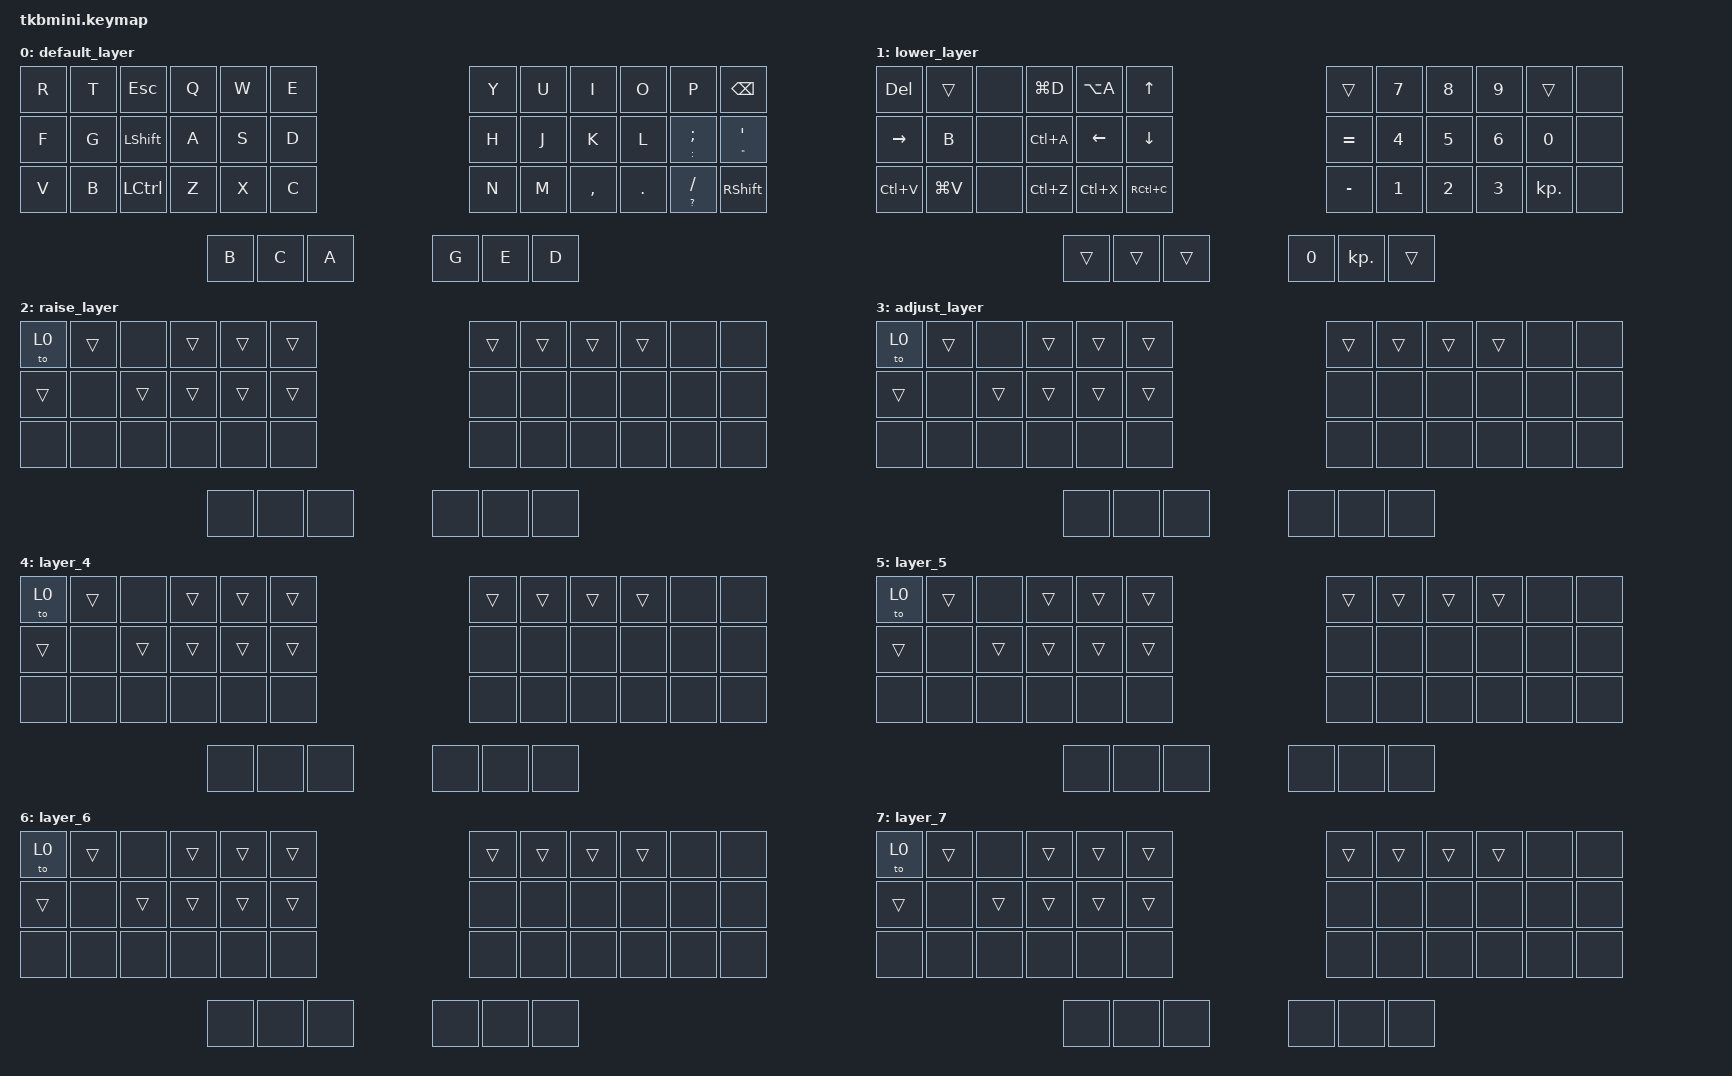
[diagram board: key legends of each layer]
/*
 * Copyright (c) 2020 The ZMK Contributors
 *
 * SPDX-License-Identifier: MIT
 */

#include <behaviors.dtsi>
#include <dt-bindings/zmk/bt.h>
#include <dt-bindings/zmk/keys.h>
#include <dt-bindings/zmk/outputs.h>


&mt {
    tapping-term-ms = <200>;
    flavor = "tap-preferred";
};

&sk {
    release-after-ms = <2000>;
    quick-release;
};

/ {
    combos {
        compatible = "zmk,combos";

        left_bkt {
            bindings = <&kp LBKT>;
            key-positions = <3 2>;
            timeout-ms = <50>;
        };

        right_bkt {
            bindings = <&kp RBKT>;
            key-positions = <6 7>;
            timeout-ms = <50>;
        };

        left_par {
            bindings = <&kp LEFT_PARENTHESIS>;
            key-positions = <12 13>;
            timeout-ms = <50>;
        };

        right_par {
            bindings = <&kp RIGHT_PARENTHESIS>;
            key-positions = <16 17>;
            timeout-ms = <50>;
        };

        left_brace {
            bindings = <&kp LEFT_BRACE>;
            key-positions = <23 22>;
            timeout-ms = <50>;
        };

        right_brace {
            bindings = <&kp RIGHT_BRACE>;
            key-positions = <26 27>;
            timeout-ms = <50>;
        };

        bac {
            bindings = <&kp BACKSLASH>;
            key-positions = <4 5>;
        };

        pipe {
            bindings = <&kp PIPE>;
            key-positions = <14 15>;
        };
    };

    behaviors {
        hm: homerow_mods {
            compatible = "zmk,behavior-hold-tap";
            label = "HOMEROW_MODS";
            #binding-cells = <2>;
            tapping-term-ms = <200>;
            quick_tap_ms = <0>;
            flavor = "tap-preferred";
            bindings = <&kp>, <&kp>;

            quick-tap-ms = <180>;
            global-quick-tap;
        };

        ltq: ltq {
            compatible = "zmk,behavior-hold-tap";
            label = "LTQ";
            #binding-cells = <2>;
            tapping-term-ms = <200>;
            flavor = "hold-preferred";
            bindings = <&mo>, <&kp>;

            quick-tap-ms = <180>;
        };

        as: as {
            compatible = "zmk,behavior-hold-tap";
            label = "AUTO_SHIFT";
            bindings = <&kp>, <&kp>;

            #binding-cells = <2>;
            tapping-term-ms = <135>;
            quick-tap-ms = <0>;
            flavor = "tap-preferred";
        };
    };

    keymap {
        compatible = "zmk,keymap";

        default_layer {
            bindings = <
&kp ESC         &kp Q  &kp W  &kp E  &kp R  &kp T  &kp Y  &kp U  &kp I      &kp O    &kp P                &kp BACKSPACE
&kp LEFT_SHIFT  &kp A  &kp S  &kp D  &kp F  &kp G  &kp H  &kp J  &kp K      &kp L    &as COLON SEMICOLON  &as DOUBLE_QUOTES SINGLE_QUOTE
&kp LCTRL       &kp Z  &kp X  &kp C  &kp V  &kp B  &kp N  &kp M  &kp COMMA  &kp DOT  &as QUESTION SLASH   &kp RIGHT_SHIFT
                &kp B  &kp C  &kp A                              &kp G      &kp E    &kp D
            >;
        };

        lower_layer {
            bindings = <
&none  &kp LG(D)  &kp LA(A)  &kp UP     &kp DELETE  &trans     &trans     &kp N7  &kp N8  &kp N9      &trans      &none
&none  &kp LC(A)  &kp LEFT   &kp DOWN   &kp RIGHT   &kp B      &kp EQUAL  &kp N4  &kp N5  &kp N6      &kp N0      &none
&none  &kp LC(Z)  &kp LC(X)  &kp RC(C)  &kp LC(V)   &kp LG(V)  &kp MINUS  &kp N1  &kp N2  &kp N3      &kp KP_DOT  &none
       &trans     &trans     &trans                                               &kp N0  &kp KP_DOT  &trans
            >;
        };

        raise_layer {
            bindings = <
&none   &trans  &trans  &trans  &to 0   &trans  &trans  &trans  &trans  &trans  &none  &none
&trans  &trans  &trans  &trans  &trans  &none   &none   &none   &none   &none   &none  &none
&none   &none   &none   &none   &none   &none   &none   &none   &none   &none   &none  &none
        &none   &none   &none                                   &none   &none   &none
            >;
        };

        adjust_layer {
            bindings = <
&none   &trans  &trans  &trans  &to 0   &trans  &trans  &trans  &trans  &trans  &none  &none
&trans  &trans  &trans  &trans  &trans  &none   &none   &none   &none   &none   &none  &none
&none   &none   &none   &none   &none   &none   &none   &none   &none   &none   &none  &none
        &none   &none   &none                                   &none   &none   &none
            >;
        };

        layer_4 {
            bindings = <
&none   &trans  &trans  &trans  &to 0   &trans  &trans  &trans  &trans  &trans  &none  &none
&trans  &trans  &trans  &trans  &trans  &none   &none   &none   &none   &none   &none  &none
&none   &none   &none   &none   &none   &none   &none   &none   &none   &none   &none  &none
        &none   &none   &none                                   &none   &none   &none
            >;
        };

        layer_5 {
            bindings = <
&none   &trans  &trans  &trans  &to 0   &trans  &trans  &trans  &trans  &trans  &none  &none
&trans  &trans  &trans  &trans  &trans  &none   &none   &none   &none   &none   &none  &none
&none   &none   &none   &none   &none   &none   &none   &none   &none   &none   &none  &none
        &none   &none   &none                                   &none   &none   &none
            >;
        };

        layer_6 {
            bindings = <
&none   &trans  &trans  &trans  &to 0   &trans  &trans  &trans  &trans  &trans  &none  &none
&trans  &trans  &trans  &trans  &trans  &none   &none   &none   &none   &none   &none  &none
&none   &none   &none   &none   &none   &none   &none   &none   &none   &none   &none  &none
        &none   &none   &none                                   &none   &none   &none
            >;
        };

        layer_7 {
            bindings = <
&none   &trans  &trans  &trans  &to 0   &trans  &trans  &trans  &trans  &trans  &none  &none
&trans  &trans  &trans  &trans  &trans  &none   &none   &none   &none   &none   &none  &none
&none   &none   &none   &none   &none   &none   &none   &none   &none   &none   &none  &none
        &none   &none   &none                                   &none   &none   &none
            >;
        };
    };
};
